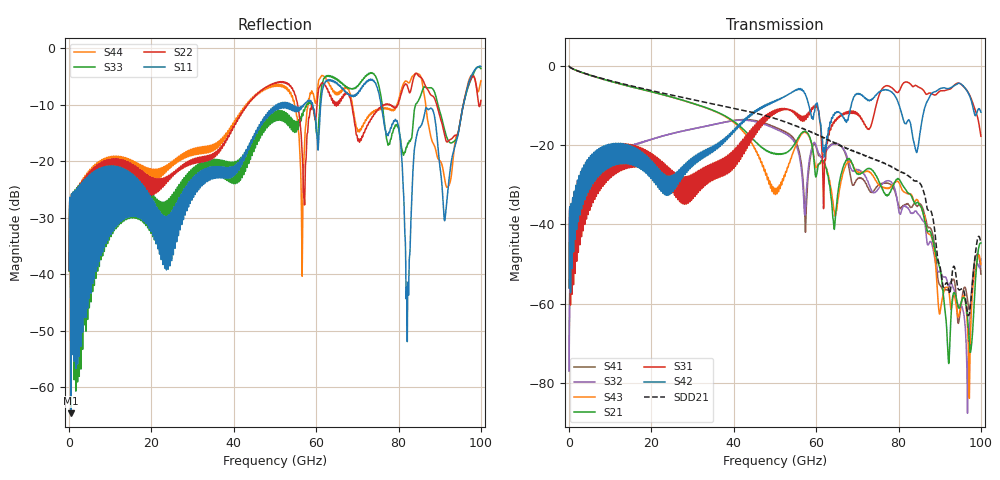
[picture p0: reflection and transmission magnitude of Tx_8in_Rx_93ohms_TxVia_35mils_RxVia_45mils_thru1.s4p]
! Info: Touchstone file created by Circ.  Input file=Tx_8in_Rx_93ohms_TxVia_35mils_RxVia_45mils.circ
# Hz S RI R 50
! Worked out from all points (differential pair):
!   10000 points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, 10 MHz to 100 GHz, reference 50 ohm
!   strongest paths, dB at 10 MHz, 25.01 GHz, 50.01 GHz, 75.01 GHz, 100 GHz:
!     S42: -56.0, -27.8, -8.9, -6.9, -11.7
!     S31: -56.0, -26.4, -11.5, -8.3, -17.8
!     S21: -0.1, -7.9, -22.2, -28.5, -44.7
!     S43: -0.1, -7.9, -31.8, -29.7, -50.1
!     S32: -76.9, -17.1, -15.8, -31.1, -48.7
!     S41: -76.9, -17.1, -15.4, -30.1, -52.5
!   taken as a pair (ports 1,3 in; 2,4 out), SDD21 dB: -0.1, -7.4, -13.3, -23.9, -44.5
!   lowest |S11| = -64.7 dB at 410 MHz (marker M1), VSWR 1.00, Z = 50 + j0.0312 ohm
!   |S11| at or under -10 dB: start of sweep to 50.56 GHz; 54.2 GHz to 56.93 GHz (2.729 GHz wide, 4.91 % of centre); 75.77 GHz to 95.75 GHz (19.99 GHz wide, 23.3 % of centre) (the widest 3 of 13)
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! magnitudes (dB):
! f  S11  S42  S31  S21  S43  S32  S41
! 10 MHz  -39.3  -56.0  -56.0  -0.1  -0.1  -76.9  -76.9
! 410 MHz  -64.7  -40.6  -40.7  -0.5  -0.5  -46.3  -46.3
! 42.48 GHz  -19.7  -14.1  -21.7  -16.2  -16.8  -13.7  -13.5
! 73.95 GHz  -5.7  -8.0  -12.6  -26.8  -28.1  -32.0  -31.6
! 82.23 GHz  -43.1  -14.0  -4.2  -31.9  -32.2  -35.8  -34.7
! 92.12 GHz  -24.2  -5.7  -6.0  -74.5  -56.3  -55.4  -56.2
! 100 GHz  -3.2  -11.7  -17.8  -44.7  -50.1  -48.7  -52.5
